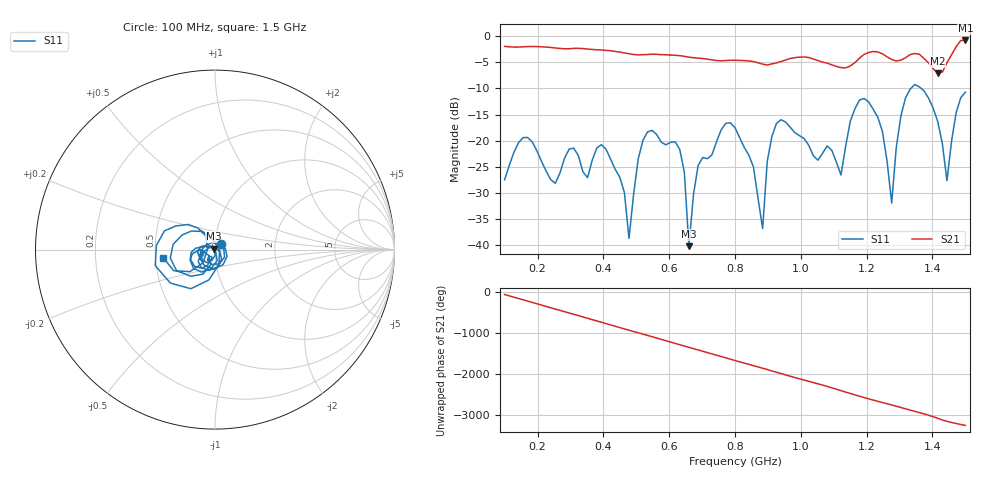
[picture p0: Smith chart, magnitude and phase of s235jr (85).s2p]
! NanoVNA-App
! Date: 2025-09-25 15:04:49
! Start: 100MHz Stop: 1,5GHz Points: 101
! S-Parameter data: F S11 S21 S12 S22
# Hz S RI R 50
!  Frequency  S11_Real  S11_Imag  S21_Real  S21_Imag  S12_Real  S12_Imag  S22_Real  S22_Imag
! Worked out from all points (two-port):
!   101 points, 100 MHz to 1.5 GHz, reference 50 ohm
!   highest |S21| = -0.82 dB at 1.5 GHz (marker M1); lowest = -7.1 dB at 1.416 GHz (marker M2)
!   |S21| within 3 dB of the highest: start of sweep to 641.9 MHz; 1.186 GHz to 1.259 GHz (73.12 MHz wide, 5.98 % of centre) (the widest 2 of 4)
!   lowest |S11| = -40.2 dB at 660 MHz (marker M3), VSWR 1.02, Z = 49.2 + j0.575 ohm
!   |S11| at or under -10 dB: start of sweep to 1.334 GHz; 1.366 GHz to end of sweep
!   S12 and S22 are empty: the file has one direction only
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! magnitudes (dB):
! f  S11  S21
! 100 MHz  -27.5  -2.0
! 156 MHz  -19.4  -2.0
! 338 MHz  -26.0  -2.4
! 408 MHz  -21.6  -2.7
! 478 MHz  -38.7  -3.4
! 520 MHz  -20.0  -3.5
! 576 MHz  -20.3  -3.5
! 632 MHz  -21.6  -3.7
! 660 MHz  -40.2  -4.0
! 688 MHz  -24.7  -4.2
! 800 MHz  -17.5  -4.6
! 884 MHz  -36.8  -5.4
! 926 MHz  -16.7  -5.1
! 1.038 GHz  -22.9  -4.4
! 1.122 GHz  -26.6  -6.0
! 1.192 GHz  -11.9  -3.5
! 1.248 GHz  -18.2  -3.4
! 1.276 GHz  -31.9  -4.4
! 1.332 GHz  -10.2  -3.5
! 1.416 GHz  -16.3  -7.1
! 1.444 GHz  -27.6  -5.1
! 1.5 GHz  -10.7  -0.8
